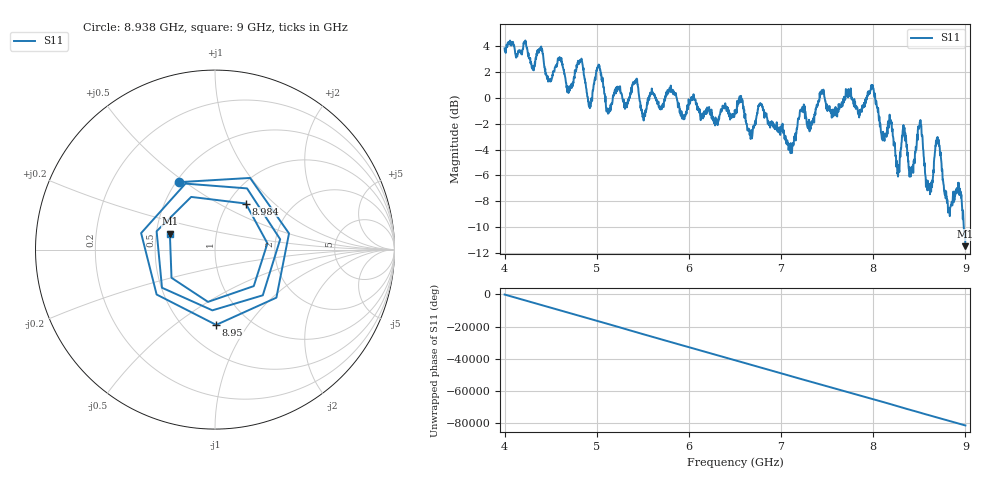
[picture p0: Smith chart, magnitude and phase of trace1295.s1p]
! Created with skrf 1.8.0 (http://scikit-rf.org).
# Hz S RI R 50.0
!freq ReS11 ImS11
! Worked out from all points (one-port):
!   1601 points, 4 GHz to 9 GHz, reference 50 ohm
!   lowest |S11| = -11.5 dB at 9 GHz (marker M1), VSWR 1.73, Z = 29.5 + j5.61 ohm
!   |S11| at or under -10 dB: 8.982301 GHz to end of sweep
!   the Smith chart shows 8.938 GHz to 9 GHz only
!   S11 on the Smith chart (normalised r, x): 8.938 GHz: 0.52, +0.48; 8.95 GHz: 0.71, -0.72; 8.984 GHz: 1.20, +0.68; 9 GHz: 0.59, +0.11
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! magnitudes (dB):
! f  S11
! 4 GHz  3.8
! 4.625 GHz  2.6
! 4.703 GHz  0.9
! 4.822 GHz  2.8
! 4.925 GHz  -0.8
! 5.016 GHz  2.5
! 5.122 GHz  -1.2
! 5.25 GHz  0.6
! 5.875 GHz  -0.2
! 6.5 GHz  -1.1
! 6.669 GHz  -3.2
! 6.778 GHz  -0.4
! 7.125 GHz  -3.6
! 7.231 GHz  -0.7
! 7.75 GHz  0.5
! 7.994 GHz  1.0
! 8.262 GHz  -5.9
! 8.331 GHz  -2.6
! 8.375 GHz  -4.2
! 8.419 GHz  -5.7
! 8.509 GHz  -2.1
! 8.597 GHz  -6.6
! 8.697 GHz  -3.0
! 8.809 GHz  -8.2
! 8.938 GHz  -7.4
! 8.95 GHz  -7.5
! 8.984 GHz  -10.2
! 9 GHz  -11.5
